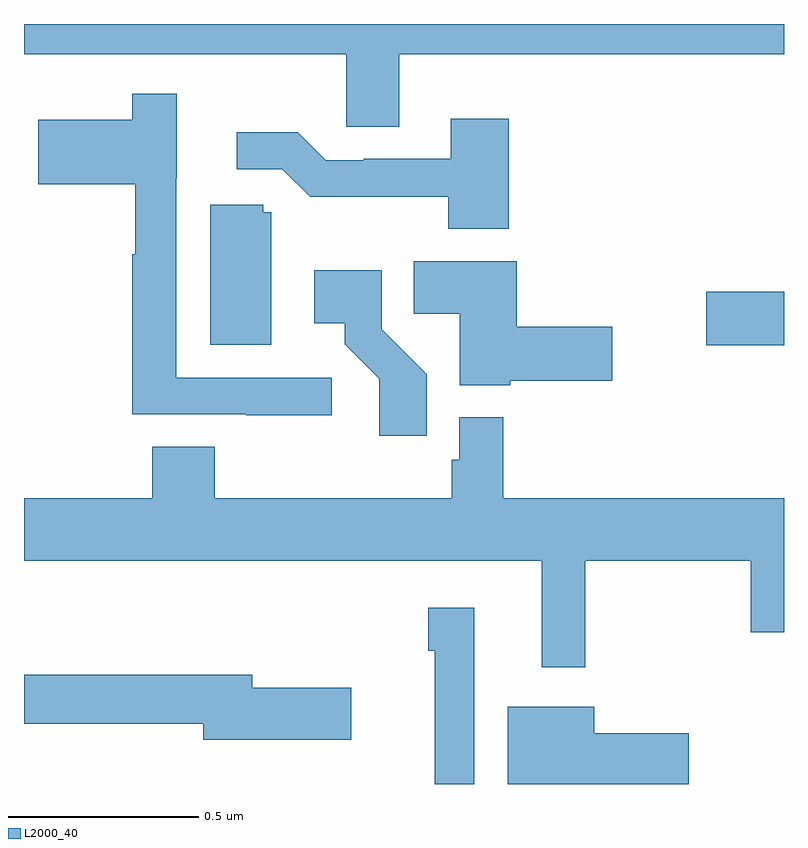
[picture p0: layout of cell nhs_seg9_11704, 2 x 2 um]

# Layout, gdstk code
import gdstk
lib = gdstk.Library(unit=1e-6, precision=1e-09)
def R(c, l, rs):  # rectangles x0, y0, x1, y1
    for r in rs: c.add(gdstk.rectangle(r[:2], r[2:], *l))
def P(c, l, *ps):  # polygons
    for p in ps: c.add(gdstk.Polygon(p, *l))
L2000_40 = (2000, 40)

nhs_seg9_11704 = lib.new_cell('nhs_seg9_11704')
R(nhs_seg9_11704, L2000_40, [(260.796,1195.654,261,1195.796)])
P(nhs_seg9_11704, L2000_40, [(259,1196.42),(259.848,1196.42),(259.848,1196.23),(259.987,1196.23),(259.987,1196.42),(261,1196.42),(261,1196.5),(259,1196.5)],
  [(259.81,1195.569),(259.401,1195.569),(259.401,1196.094),(259.402,1196.094),(259.402,1196.317),(259.285,1196.317),(259.285,1196.248),(259.038,1196.248),(259.038,1196.078),(259.293,1196.078),(259.293,1195.894),(259.285,1195.894),(259.285,1195.473),(259.585,1195.473),(259.585,1195.471),(259.81,1195.471)],
  [(260.276,1196.251),(260.123,1196.251),(260.123,1196.145),(259.894,1196.145),(259.894,1196.142),(259.794,1196.142),(259.721,1196.215),(259.56,1196.215),(259.56,1196.118),(259.68,1196.118),(259.753,1196.045),(259.852,1196.045),(259.852,1196.046),(260.116,1196.046),(260.116,1195.961),(260.276,1195.961)],
  [(259.651,1196.004),(259.629,1196.004),(259.629,1196.025),(259.49,1196.025),(259.49,1195.656),(259.651,1195.656)],
  [(260.28,1195.561),(260.548,1195.561),(260.548,1195.703),(260.297,1195.703),(260.297,1195.876),(260.026,1195.876),(260.026,1195.738),(260.147,1195.738),(260.147,1195.55),(260.28,1195.55)],
  [(260.06,1195.578),(259.941,1195.697),(259.941,1195.852),(259.764,1195.852),(259.764,1195.712),(259.844,1195.712),(259.844,1195.657),(259.935,1195.567),(259.935,1195.416),(260.06,1195.416)],
  [(260.261,1195.465),(260.145,1195.465),(260.145,1195.353),(260.125,1195.353),(260.125,1195.252),(259.502,1195.252),(259.502,1195.388),(259.337,1195.388),(259.337,1195.252),(259,1195.252),(259,1195.088),(260.363,1195.088),(260.363,1194.807),(260.477,1194.807),(260.477,1195.088),(260.912,1195.088),(260.912,1194.9),(261,1194.9),(261,1195.252),(260.261,1195.252)],
  [(260.185,1194.964),(260.064,1194.964),(260.064,1194.851),(260.081,1194.851),(260.081,1194.5),(260.185,1194.5)],
  [(259.861,1194.753),(259.6,1194.753),(259.6,1194.787),(259,1194.787),(259,1194.658),(259.472,1194.658),(259.472,1194.616),(259.861,1194.616)],
  [(260.749,1194.633),(260.5,1194.633),(260.5,1194.703),(260.273,1194.703),(260.273,1194.5),(260.749,1194.5)])

lib.write_gds('nhs_seg9_11704.gds')
